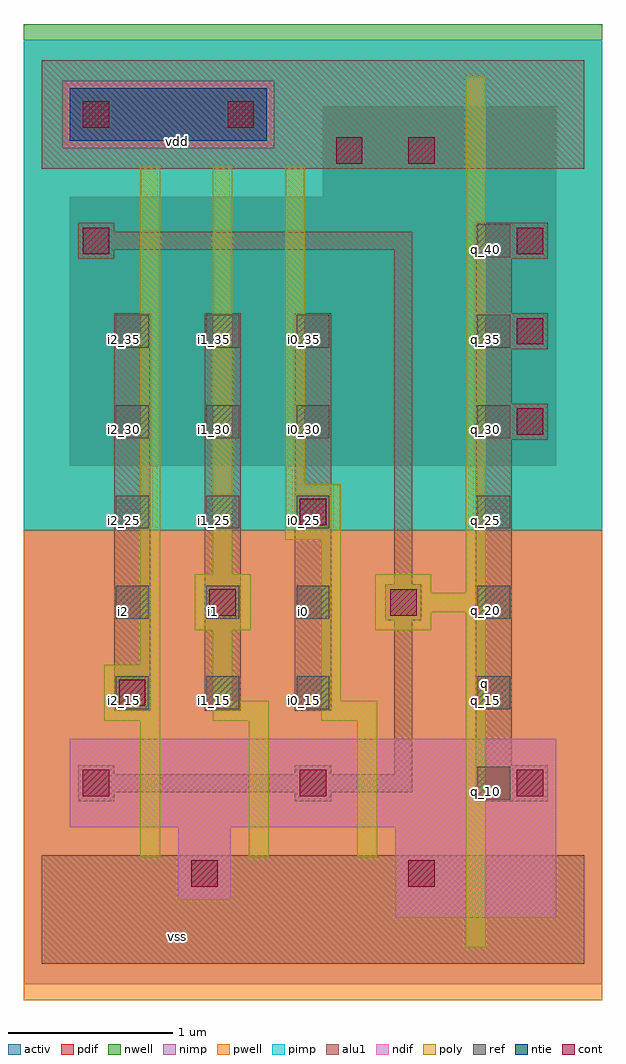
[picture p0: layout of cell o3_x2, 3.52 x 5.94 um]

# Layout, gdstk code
import gdstk
lib = gdstk.Library(unit=1e-6, precision=2.5e-09)
def R(c, l, rs):  # rectangles x0, y0, x1, y1
    for r in rs: c.add(gdstk.rectangle(r[:2], r[2:], *l))
def A(c, l, x, y, w, h, nx, ny, dx, dy):  # array of equal rectangles
    R(c, l, [(x+i*dx, y+j*dy, x+i*dx+w, y+j*dy+h) for i in range(nx) for j in range(ny)])
ndif = (3, 0)
pdif = (4, 0)
ntie = (5, 0)
ref = (24, 0)
cont = (25, 0)
pwell = (41, 0)
nwell = (42, 0)
activ = (43, 0)
pimp = (44, 0)
nimp = (45, 0)
poly = (46, 0)
alu1 = (49, 0)

o3_x2 = lib.new_cell('o3_x2')
R(o3_x2, ndif, [(2.15,0.28,3.13,0.83), (2.15,0.28,3.13,0.83), (0.83,0.39,1.15,0.83), (0.83,0.39,1.15,0.83), (0.17,0.83,3.13,1.37), (0.17,0.83,3.13,1.37)])
R(o3_x2, pdif, [(0.17,3.03,3.13,4.67), (0.17,3.03,3.13,4.67), (1.71,4.67,3.13,5.22), (1.71,4.67,3.13,5.22)])
R(o3_x2, ntie, [(0.17,5.01,1.37,5.33), (0.17,5.01,1.37,5.33)])
A(o3_x2, ref, 2.65, 1, 0.2, 0.2, 1, 7, 0, 0.55)
A(o3_x2, ref, 0.45, 1.55, 0.2, 0.2, 3, 5, 0.55, 0.55)
A(o3_x2, cont, 0.25, 1.02, 0.16, 0.16, 3, 1, 1.32, 0)
A(o3_x2, cont, 2.89, 3.22, 0.16, 0.16, 1, 3, 0, 0.55)
R(o3_x2, cont, [(0.91,0.47,1.07,0.63), (2.23,0.47,2.39,0.63), (0.47,1.57,0.63,1.73), (1.02,2.12,1.18,2.28), (2.12,2.12,2.28,2.28), (1.57,2.67,1.73,2.83), (0.25,4.32,0.41,4.48), (1.79,4.87,1.95,5.03), (2.23,4.87,2.39,5.03), (0.25,5.09,0.41,5.25), (1.13,5.09,1.29,5.25)])
R(o3_x2, pwell, [(-0.11,-0.22,3.41,2.64)])
R(o3_x2, nwell, [(-0.11,2.64,3.41,5.72)])
R(o3_x2, activ, [(2.15,0.28,3.13,0.83), (2.15,0.28,3.13,0.83), (0.83,0.39,1.15,0.83), (0.83,0.39,1.15,0.83), (0.17,0.83,3.13,1.37), (0.17,0.83,3.13,1.37), (0.17,3.03,3.13,4.67), (0.17,3.03,3.13,4.67), (1.71,4.67,3.13,5.22), (1.71,4.67,3.13,5.22), (0.17,5.01,1.37,5.33), (0.17,5.01,1.37,5.33)])
R(o3_x2, pimp, [(-0.11,2.64,3.41,4.965), (-0.11,4.965,0.125,5.375), (1.415,4.965,3.41,5.375), (-0.11,5.375,3.41,5.625)])
R(o3_x2, nimp, [(-0.11,-0.125,3.41,2.64), (0.125,4.965,1.415,5.375)])
A(o3_x2, poly, 0.6, 0.65, 0.12, 0.83, 3, 1, 0.66, 0)
R(o3_x2, poly, [(2.58,0.1,2.7,2.14), (0.38,1.48,0.72,1.82), (1.04,1.48,1.38,1.6), (1.7,1.48,2.04,1.6), (1.04,1.6,1.16,2.03), (1.7,1.6,1.82,2.58), (0.6,1.82,0.72,4.85), (0.93,2.03,1.27,2.37), (2.03,2.03,2.37,2.14), (2.03,2.14,2.7,2.26), (2.03,2.26,2.37,2.37), (2.58,2.26,2.7,5.4), (1.04,2.37,1.16,4.85), (1.48,2.58,1.82,2.92), (1.48,2.92,1.6,4.85)])
A(o3_x2, alu1, 0.44, 1.54, 0.22, 2.42, 3, 1, 0.55, 0)
A(o3_x2, alu1, 2.64, 3.19, 0.44, 0.22, 1, 3, 0, 0.55)
R(o3_x2, alu1, [(0,0,3.3,0.66), (0.22,0.99,0.44,1.045), (1.54,0.99,1.76,1.045), (2.64,0.99,3.08,1.21), (0.22,1.045,2.255,1.155), (0.22,1.155,0.44,1.21), (1.54,1.155,1.76,1.21), (2.145,1.155,2.255,2.09), (2.64,1.21,2.86,3.19), (2.09,2.09,2.31,2.31), (2.145,2.31,2.255,4.345), (2.64,3.41,2.86,3.74), (2.64,3.96,2.86,4.29), (0.22,4.29,0.44,4.345), (0.22,4.345,2.255,4.455), (0.22,4.455,0.44,4.51), (0,4.84,3.3,5.5)])
o3_x2.add(gdstk.Label('vss', (0.825,0.165), layer=49, texttype=0))
o3_x2.add(gdstk.Label('q', (2.695,1.705), layer=49, texttype=0))
o3_x2.add(gdstk.Label('i0', (1.595,2.145), layer=49, texttype=0))
o3_x2.add(gdstk.Label('i1', (1.045,2.145), layer=49, texttype=0))
o3_x2.add(gdstk.Label('i2', (0.495,2.145), layer=49, texttype=0))
o3_x2.add(gdstk.Label('vdd', (0.825,5.005), layer=49, texttype=0))
o3_x2.add(gdstk.Label('i2_30', (0.5,3.25), layer=24, texttype=0))
o3_x2.add(gdstk.Label('i2_35', (0.5,3.8), layer=24, texttype=0))
o3_x2.add(gdstk.Label('i2_15', (0.5,1.6), layer=24, texttype=0))
o3_x2.add(gdstk.Label('i2_20', (0.5,2.15), layer=24, texttype=0))
o3_x2.add(gdstk.Label('i2_25', (0.5,2.7), layer=24, texttype=0))
o3_x2.add(gdstk.Label('i1_35', (1.05,3.8), layer=24, texttype=0))
o3_x2.add(gdstk.Label('i1_30', (1.05,3.25), layer=24, texttype=0))
o3_x2.add(gdstk.Label('i1_25', (1.05,2.7), layer=24, texttype=0))
o3_x2.add(gdstk.Label('i1_20', (1.05,2.15), layer=24, texttype=0))
o3_x2.add(gdstk.Label('i1_15', (1.05,1.6), layer=24, texttype=0))
o3_x2.add(gdstk.Label('i0_15', (1.6,1.6), layer=24, texttype=0))
o3_x2.add(gdstk.Label('i0_20', (1.6,2.15), layer=24, texttype=0))
o3_x2.add(gdstk.Label('i0_25', (1.6,2.7), layer=24, texttype=0))
o3_x2.add(gdstk.Label('i0_30', (1.6,3.25), layer=24, texttype=0))
o3_x2.add(gdstk.Label('i0_35', (1.6,3.8), layer=24, texttype=0))
o3_x2.add(gdstk.Label('q_40', (2.7,4.35), layer=24, texttype=0))
o3_x2.add(gdstk.Label('q_35', (2.7,3.8), layer=24, texttype=0))
o3_x2.add(gdstk.Label('q_30', (2.7,3.25), layer=24, texttype=0))
o3_x2.add(gdstk.Label('q_25', (2.7,2.7), layer=24, texttype=0))
o3_x2.add(gdstk.Label('q_20', (2.7,2.15), layer=24, texttype=0))
o3_x2.add(gdstk.Label('q_15', (2.7,1.6), layer=24, texttype=0))
o3_x2.add(gdstk.Label('q_10', (2.7,1.05), layer=24, texttype=0))

lib.write_gds('o3_x2.gds')
